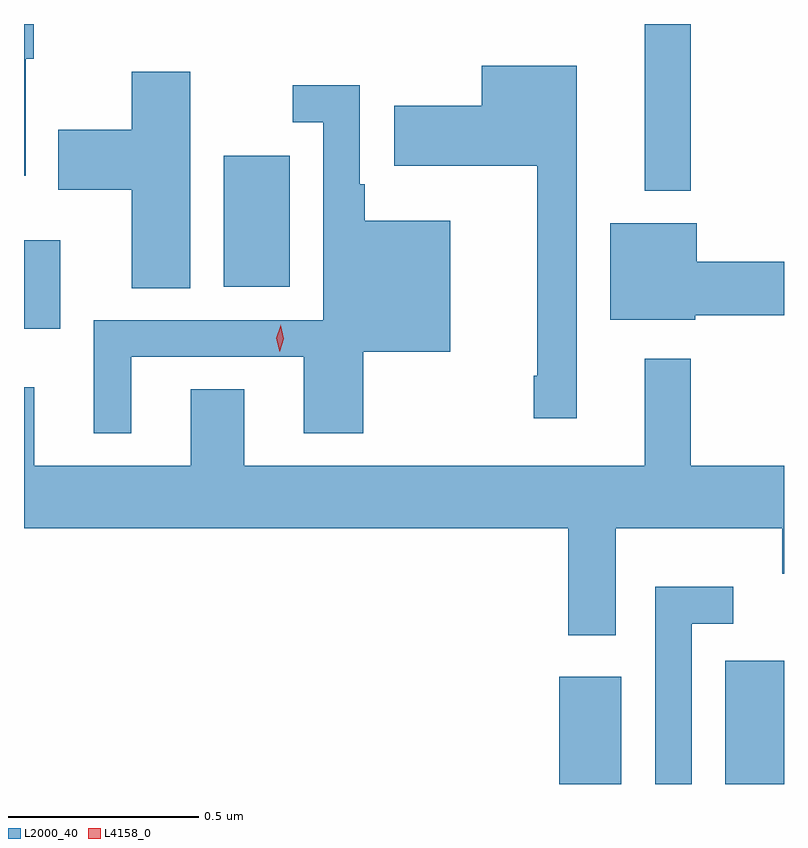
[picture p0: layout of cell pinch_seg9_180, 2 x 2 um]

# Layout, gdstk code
import gdstk
lib = gdstk.Library(unit=1e-6, precision=1e-09)
def R(c, l, rs):  # rectangles x0, y0, x1, y1
    for r in rs: c.add(gdstk.rectangle(r[:2], r[2:], *l))
def P(c, l, *ps):  # polygons
    for p in ps: c.add(gdstk.Polygon(p, *l))
L2000_40 = (2000, 40)
L4158_0 = (4158, 0)

pinch_seg9_180 = lib.new_cell('pinch_seg9_180')
R(pinch_seg9_180, L2000_40, [(797.156,1213.063,797.32,1213.345), (797.594,1213.063,797.748,1213.387), (795.748,1214.261,795.844,1214.494), (796.274,1214.372,796.447,1214.716), (797.381,1214.624,797.503,1215.063)])
P(pinch_seg9_180, L2000_40, [(795.753,1214.972),(795.773,1214.972),(795.773,1215.063),(795.748,1215.063),(795.748,1214.664),(795.753,1214.664)],
  [(797.203,1214.953),(796.952,1214.953),(796.952,1214.848),(796.722,1214.848),(796.722,1214.69),(797.099,1214.69),(797.099,1214.137),(797.089,1214.137),(797.089,1214.025),(797.203,1214.025)],
  [(796.186,1214.938),(796.031,1214.938),(796.031,1214.785),(795.838,1214.785),(795.838,1214.627),(796.031,1214.627),(796.031,1214.368),(796.186,1214.368)],
  [(796.03,1214.187),(796.484,1214.187),(796.484,1213.986),(796.641,1213.986),(796.641,1214.201),(796.87,1214.201),(796.87,1214.545),(796.645,1214.545),(796.645,1214.641),(796.632,1214.641),(796.632,1214.902),(796.455,1214.902),(796.455,1214.805),(796.536,1214.805),(796.536,1214.283),(795.932,1214.283),(795.932,1213.986),(796.03,1213.986)],
  [(797.514,1214.296),(797.748,1214.296),(797.748,1214.438),(797.518,1214.438),(797.518,1214.539),(797.291,1214.539),(797.291,1214.285),(797.514,1214.285)],
  [(796.187,1214.102),(796.187,1213.9),(795.775,1213.9),(795.775,1214.107),(795.748,1214.107),(795.748,1213.736),(797.18,1213.736),(797.18,1213.455),(797.305,1213.455),(797.305,1213.736),(797.743,1213.736),(797.743,1213.616),(797.748,1213.616),(797.748,1213.9),(797.503,1213.9),(797.503,1214.182),(797.381,1214.182),(797.381,1213.9),(796.327,1213.9),(796.327,1214.102)],
  [(797.505,1213.485),(797.614,1213.485),(797.614,1213.582),(797.409,1213.582),(797.409,1213.063),(797.505,1213.063)])
P(pinch_seg9_180, L4158_0, [(796.421,1214.2),(796.421,1214.2),(796.412,1214.236),(796.424,1214.27),(796.424,1214.271),(796.424,1214.27),(796.432,1214.235),(796.421,1214.2)])

lib.write_gds('pinch_seg9_180.gds')
